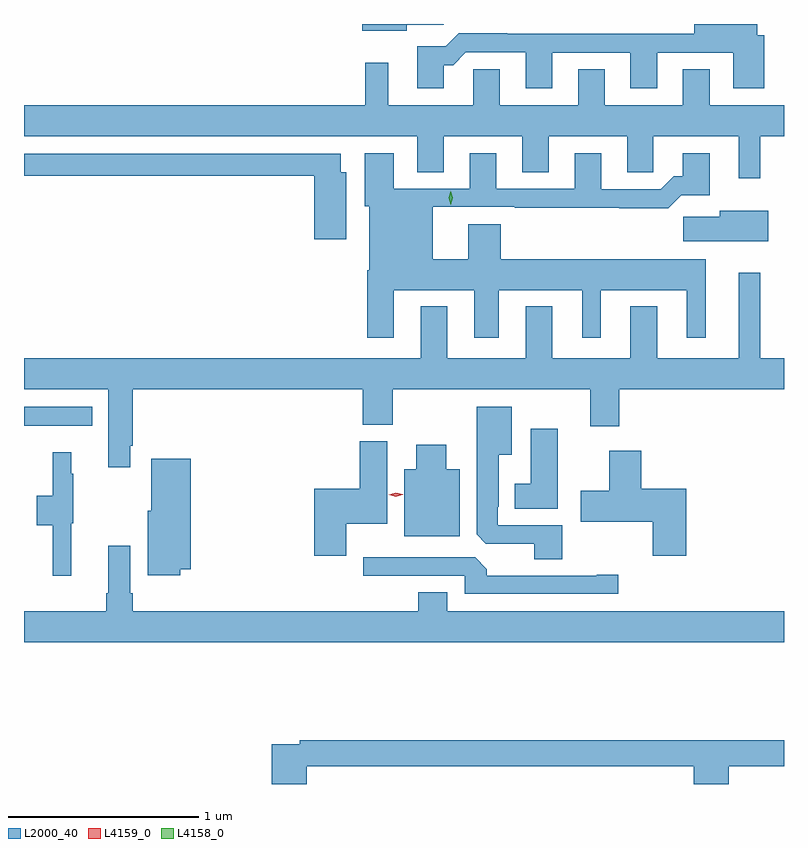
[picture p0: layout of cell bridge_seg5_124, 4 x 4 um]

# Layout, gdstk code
import gdstk
lib = gdstk.Library(unit=1e-6, precision=1e-09)
def R(c, l, rs):  # rectangles x0, y0, x1, y1
    for r in rs: c.add(gdstk.rectangle(r[:2], r[2:], *l))
def P(c, l, *ps):  # polygons
    for p in ps: c.add(gdstk.Polygon(p, *l))
L2000_40 = (2000, 40)
L4158_0 = (4158, 0)
L4159_0 = (4159, 0)

bridge_seg5_124 = lib.new_cell('bridge_seg5_124')
R(bridge_seg5_124, L2000_40, [(460.175,881.876,460.534,881.977)])
P(bridge_seg5_124, L2000_40, [(462.19,883.987),(462.385,883.987),(462.385,883.991),(461.954,883.991),(461.954,883.955),(462.19,883.955)],
  [(462.385,883.775),(462.434,883.775),(462.501,883.842),(462.815,883.842),(462.815,883.653),(462.955,883.653),(462.955,883.839),(463.367,883.839),(463.367,883.653),(463.507,883.653),(463.507,883.839),(463.907,883.839),(463.907,883.653),(464.072,883.653),(464.072,883.932),(464.035,883.932),(464.035,883.991),(463.703,883.991),(463.703,883.94),(462.719,883.94),(462.719,883.943),(462.464,883.943),(462.394,883.873),(462.245,883.873),(462.245,883.653),(462.385,883.653)],
  [(464.051,883.4),(464.175,883.4),(464.175,883.564),(463.783,883.564),(463.783,883.754),(463.643,883.754),(463.643,883.564),(463.231,883.564),(463.231,883.754),(463.091,883.754),(463.091,883.564),(462.679,883.564),(462.679,883.754),(462.54,883.754),(462.54,883.564),(462.091,883.564),(462.091,883.786),(461.97,883.786),(461.97,883.564),(460.175,883.564),(460.175,883.4),(462.245,883.4),(462.245,883.21),(462.385,883.21),(462.385,883.4),(462.797,883.4),(462.797,883.21),(462.937,883.21),(462.937,883.4),(463.349,883.4),(463.349,883.21),(463.488,883.21),(463.488,883.4),(463.937,883.4),(463.937,883.179),(464.051,883.179)],
  [(462.121,882.59),(462.545,882.59),(462.545,882.339),(462.673,882.339),(462.673,882.59),(463.112,882.59),(463.112,882.339),(463.21,882.339),(463.21,882.59),(463.664,882.59),(463.664,882.339),(463.762,882.339),(463.762,882.754),(462.683,882.754),(462.683,882.937),(462.512,882.937),(462.512,882.754),(462.325,882.754),(462.325,883.029),(462.757,883.029),(462.757,883.024),(463.309,883.024),(463.309,883.022),(463.565,883.022),(463.634,883.091),(463.783,883.091),(463.783,883.312),(463.643,883.312),(463.643,883.189),(463.594,883.189),(463.527,883.122),(463.213,883.122),(463.213,883.312),(463.073,883.312),(463.073,883.125),(462.661,883.125),(462.661,883.312),(462.521,883.312),(462.521,883.125),(462.121,883.125),(462.121,883.312),(461.969,883.312),(461.969,883.032),(461.993,883.032),(461.993,882.694),(461.981,882.694),(461.981,882.339),(462.121,882.339)],
  [(461.872,883.21),(461.842,883.21),(461.842,883.308),(460.175,883.308),(460.175,883.192),(461.702,883.192),(461.702,882.858),(461.872,882.858)],
  [(464.092,883.009),(463.838,883.009),(463.838,882.977),(463.644,882.977),(463.644,882.848),(464.092,882.848)],
  [(460.735,881.77),(460.748,881.77),(460.748,882.068),(461.957,882.068),(461.957,881.881),(462.117,881.881),(462.117,882.068),(463.154,882.068),(463.154,881.874),(463.307,881.874),(463.307,882.068),(464.175,882.068),(464.175,882.232),(464.051,882.232),(464.051,882.682),(463.937,882.682),(463.937,882.232),(463.507,882.232),(463.507,882.505),(463.367,882.505),(463.367,882.232),(462.955,882.232),(462.955,882.505),(462.815,882.505),(462.815,882.232),(462.403,882.232),(462.403,882.505),(462.263,882.505),(462.263,882.232),(460.175,882.232),(460.175,882.068),(460.619,882.068),(460.619,881.658),(460.735,881.658)],
  [(463.008,881.352),(462.669,881.352),(462.669,881.449),(462.673,881.449),(462.673,881.723),(462.742,881.723),(462.742,881.977),(462.557,881.977),(462.557,881.305),(462.606,881.256),(462.86,881.256),(462.86,881.173),(463.008,881.173)],
  [(462.985,881.86),(462.842,881.86),(462.842,881.572),(462.758,881.572),(462.758,881.441),(462.985,881.441)],
  [(461.872,881.36),(462.088,881.36),(462.088,881.796),(461.942,881.796),(461.942,881.545),(461.702,881.545),(461.702,881.193),(461.872,881.193)],
  [(462.469,881.647),(462.397,881.647),(462.397,881.776),(462.239,881.776),(462.239,881.647),(462.176,881.647),(462.176,881.294),(462.469,881.294)],
  [(463.661,881.545),(463.424,881.545),(463.424,881.746),(463.256,881.746),(463.256,881.535),(463.104,881.535),(463.104,881.372),(463.483,881.372),(463.483,881.193),(463.661,881.193)],
  [(460.424,881.364),(460.435,881.364),(460.435,881.624),(460.424,881.624),(460.424,881.737),(460.325,881.737),(460.325,881.508),(460.241,881.508),(460.241,881.353),(460.325,881.353),(460.325,881.088),(460.424,881.088)],
  [(460.997,881.12),(461.053,881.12),(461.053,881.704),(460.844,881.704),(460.844,881.43),(460.826,881.43),(460.826,881.09),(460.997,881.09)],
  [(464.175,880.9),(462.403,880.9),(462.403,880.999),(462.251,880.999),(462.251,880.9),(460.748,880.9),(460.748,880.996),(460.735,880.996),(460.735,881.245),(460.619,881.245),(460.619,880.996),(460.607,880.996),(460.607,880.9),(460.175,880.9),(460.175,880.736),(464.175,880.736)],
  [(463.303,881.093),(463.19,881.093),(463.19,881.088),(462.611,881.088),(462.611,881.122),(462.549,881.184),(461.961,881.184),(461.961,881.088),(462.495,881.088),(462.495,880.992),(463.303,880.992)],
  [(461.663,880.084),(463.7,880.084),(463.7,879.991),(463.883,879.991),(463.883,880.084),(464.175,880.084),(464.175,880.22),(461.626,880.22),(461.626,880.2),(461.48,880.2),(461.48,879.991),(461.663,879.991)])
P(bridge_seg5_124, L4158_0, [(462.422,883.04),(462.422,883.041),(462.411,883.076),(462.42,883.112),(462.42,883.112),(462.42,883.112),(462.431,883.076),(462.422,883.041)])
P(bridge_seg5_124, L4159_0, [(462.131,881.504),(462.094,881.514),(462.093,881.514),(462.094,881.514),(462.131,881.524),(462.168,881.515),(462.168,881.515),(462.168,881.514)])

lib.write_gds('bridge_seg5_124.gds')
